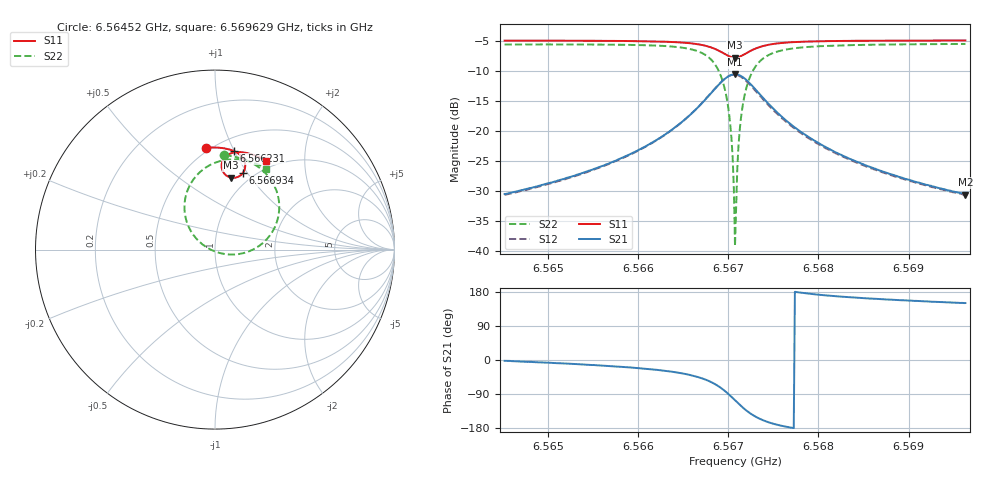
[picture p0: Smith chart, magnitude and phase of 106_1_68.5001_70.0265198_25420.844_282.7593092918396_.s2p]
#  HZ  S  RI  R  50.00
! Rohde & Schwarz Vector Network Analyzer
! Rohde-Schwarz,ZNB20-2Port,1311601062101988,3.16
! Created: UTC 3/20/2024, 4:53:15 PM
! freq[Hz]  re:S11  im:S11  re:S21  im:S21  re:S12  im:S12  re:S22  im:S22
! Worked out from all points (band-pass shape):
!   401 points, 6.56452 GHz to 6.569629 GHz, reference 50 ohm
!   highest |S21| = -10.51 dB at 6.567075 GHz (marker M1); lowest = -30.6 dB at 6.569629 GHz (marker M2)
!   |S21| within 3 dB of the highest: 6.566818 GHz to 6.56733 GHz (512.1 kHz wide, 0.0078 % of centre)
!   lowest |S11| = -7.7 dB at 6.567075 GHz (marker M3), VSWR 2.39, Z = 41.8 + j40.4 ohm
!   |S11| at or under -10 dB: nowhere
!   |S22| runs from -39.2 to -5.4 dB; largest |S21 - S12| = 0.015
!   S11 on the Smith chart (normalised r, x): 6.56452 GHz: 0.47, +0.80; 6.566231 GHz: 0.62, +1.00; 6.566934 GHz: 0.89, +0.95; 6.569629 GHz: 0.89, +1.31
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6.5645197e9  -0.0496 0.5672  0.0299 -0.00116  0.0294 -0.00156  0.0529 0.5259
6.5653756e9  0.0216 0.5677  0.0437 -0.00892  0.043 -0.00954  0.1371 0.5104
6.5662315e9  0.1043 0.5498  0.0779 -0.0389  0.0765 -0.0397  0.258 0.4475
6.5665253e9  0.1398 0.5279  0.101 -0.076  0.0993 -0.0776  0.3206 0.3743
6.5667297e9  0.1638 0.4932  0.1142 -0.1368  0.1114 -0.1399  0.3574 0.2566
6.5668446e9  0.1679 0.4588  0.1025 -0.1972  0.0972 -0.2013  0.34 0.1412
6.5669341e9  0.1542 0.4254  0.0615 -0.2544  0.0522 -0.2577  0.2643 0.0347
6.5669724e9  0.141 0.4124  0.0304 -0.2755  0.0191 -0.2772  0.2062 -0.00257
6.5670107e9  0.123 0.4032  -0.00869 -0.2894  -0.0216 -0.2886  0.1339 -0.0246
6.5670362e9  0.1093 0.4001  -0.0382 -0.2925  -0.0515 -0.2895  0.0807 -0.0275
6.567049e9  0.1021 0.3997  -0.0532 -0.2919  -0.0666 -0.2877  0.0538 -0.0247
6.5670618e9  0.0948 0.4001  -0.0683 -0.2899  -0.0816 -0.2845  0.027 -0.019
6.5670746e9  0.0875 0.4014  -0.0832 -0.2863  -0.0963 -0.2797  0.001 -0.0109
6.5671001e9  0.0738 0.4063  -0.1116 -0.2749  -0.1234 -0.2661  -0.0474 0.0133
6.5671257e9  0.0615 0.4138  -0.1365 -0.2584  -0.1467 -0.2478  -0.0892 0.0459
6.5671512e9  0.0517 0.4236  -0.1572 -0.2383  -0.1654 -0.2265  -0.1222 0.084
6.5672023e9  0.0395 0.4463  -0.1839 -0.1932  -0.1879 -0.1805  -0.1612 0.1672
6.5672662e9  0.0369 0.474  -0.1939 -0.1391  -0.1941 -0.1278  -0.169 0.2627
6.5675089e9  0.0753 0.5301  -0.1487 -0.0291  -0.1453 -0.0246  -0.0649 0.4475
6.5679304e9  0.1382 0.5436  -0.0851 0.00889  -0.083 0.0102  0.0762 0.5017
6.5687863e9  0.2204 0.5249  -0.0413 0.0156  -0.0403 0.0158  0.2078 0.4858
6.5696294e9  0.2842 0.4955  -0.0257 0.0147  -0.0253 0.015  0.2852 0.4518
